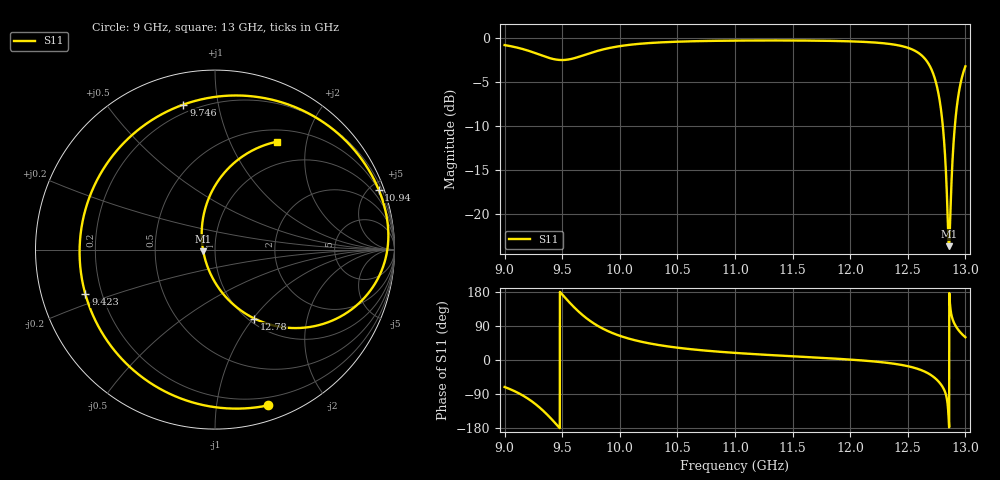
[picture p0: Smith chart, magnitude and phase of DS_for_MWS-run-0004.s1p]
! TOUCHSTONE file generated by CST DESIGN STUDIO
! Date and time: Wed Feb  5 13:27:46 2025
! Project name: C:\Work\MatlabApps\UnitCellOptimizationMatlab\CST\unitcell.cst
! Tree item: Tasks\Sweep1\SPara1\S-Parameters
! Header version: 2024
! Port assignment regex: !\s*Touchstone port\s*([0-9]+)\s*=\s*(CST MWS port|CST DES external port|CST DES block port)\s*(.+)\s* \(\"(.*)\"\)(\s*mode\s*([0-9]+))?.*
! Touchstone port assignment:
! Touchstone port 1 = CST DES external port 1 ("")
# GHz S MA R 50
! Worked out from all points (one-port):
!   4001 points, 9 GHz to 13 GHz, reference 50 ohm
!   lowest |S11| = -23.6 dB at 12.86 GHz (marker M1), VSWR 1.14, Z = 43.9 - j0.81 ohm
!   |S11| at or under -10 dB: 12.8 GHz to 12.91 GHz (103.7 MHz wide, 0.806 % of centre)
!   S11 on the Smith chart (normalised r, x): 9 GHz: 0.13, -1.39; 9.423 GHz: 0.14, -0.16; 9.746 GHz: 0.16, +0.79; 10.94 GHz: 0.47, +5.59; 12.78 GHz: 1.06, -1.02; 13 GHz: 0.66, +1.53
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9  0.9168 -71.3
9.135  0.8785 -89.7
9.237  0.8385 -109.3
9.328  0.7981 -132.0
9.423  0.7637 -161.1
9.5  0.7538 172.9
9.627  0.7799 132.2
9.746  0.8269 102.3
9.854  0.866 82.6
10  0.9044 63.9
10.216  0.9374 46.3
10.5  0.9585 32.5
10.935  0.9712 20.2
11  0.9721 18.8
11.5  0.9735 9.8
12  0.9628 1.1
12.5  0.8853 -16.3
12.656  0.7566 -31.9
12.727  0.6134 -45.4
12.777  0.4424 -60.3
12.81  0.2877 -75.2
12.845  0.102 -114.7
12.858  0.06602 -172.0
12.869  0.09792 138.8
12.896  0.2479 101.7
12.921  0.3857 87.2
12.957  0.5517 72.7
13  0.6943 60.0
